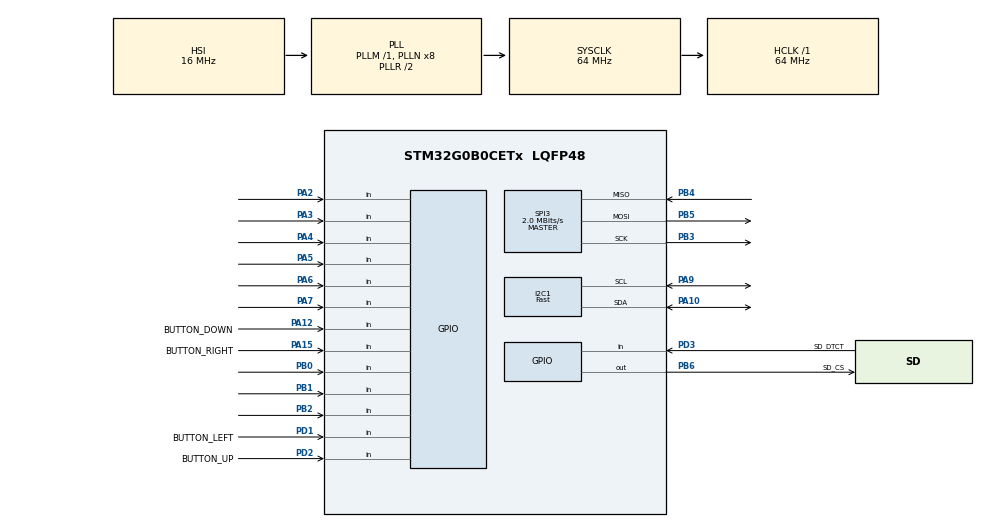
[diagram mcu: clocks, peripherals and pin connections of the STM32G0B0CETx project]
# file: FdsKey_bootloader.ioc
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I2C1.I2C_Speed_Mode=I2C_Fast
I2C1.Timing=0x00300F38
Mcu.Family=STM32G0
Mcu.Name=STM32G0B0CETx
Mcu.Package=LQFP48
PA10.GPIO_Pu=GPIO_PULLUP
PA10.Mode=I2C
PA10.Signal=I2C1_SDA
PA12\ [PA10].GPIO_Label=BUTTON_DOWN
PA12\ [PA10].GPIO_PuPd=GPIO_PULLUP
PA12\ [PA10].Signal=GPIO_Input
PA13.Mode=Serial_Wire
PA13.Signal=SYS_SWDIO
PA14-BOOT0.Mode=Serial_Wire
PA14-BOOT0.Signal=SYS_SWCLK
PA15.GPIO_Label=BUTTON_RIGHT
PA15.GPIO_PuPd=GPIO_PULLUP
PA15.Signal=GPIO_Input
PA2.Signal=GPIO_Input
PA3.Signal=GPIO_Input
PA4.Signal=GPIO_Input
PA5.Signal=GPIO_Input
PA6.Signal=GPIO_Input
PA7.Signal=GPIO_Input
PA9.GPIO_Pu=GPIO_PULLUP
PA9.Mode=I2C
PA9.Signal=I2C1_SCL
PB0.Signal=GPIO_Input
PB1.Signal=GPIO_Input
PB2.Signal=GPIO_Input
PB3.Mode=Full_Duplex_Master
PB3.Signal=SPI3_SCK
PB4.Mode=Full_Duplex_Master
PB4.Signal=SPI3_MISO
PB5.Mode=Full_Duplex_Master
PB5.Signal=SPI3_MOSI
PB6.GPIO_Label=SD_CS
PB6.PinState=GPIO_PIN_SET
PB6.Signal=GPIO_Output
PD1.GPIO_Label=BUTTON_LEFT
PD1.GPIO_PuPd=GPIO_PULLUP
PD1.Signal=GPIO_Input
PD2.GPIO_Label=BUTTON_UP
PD2.GPIO_PuPd=GPIO_PULLUP
PD2.Signal=GPIO_Input
PD3.GPIO_Label=SD_DTCT
PD3.GPIO_PuPd=GPIO_PULLUP
PD3.Signal=GPIO_Input
ProjectManager.HeapSize=0x200
ProjectManager.StackSize=0x400
ProjectManager.TargetToolchain=STM32CubeIDE
RCC.ADCFreq_Value=64000000
RCC.AHBFreq_Value=64000000
RCC.APB1CLKDivider=RCC_HCLK_DIV2
RCC.CortexFreq_Value=64000000
RCC.EXTERNAL_CLOCK_VALUE=48000
RCC.HCLKFreq_Value=64000000
RCC.HSE_VALUE=8000000
RCC.HSI_VALUE=16000000
RCC.LSE_VALUE=32768
RCC.SYSCLKFreq_VALUE=64000000
RCC.SYSCLKSource=RCC_SYSCLKSOURCE_PLLCLK
RCC.USBFreq_Value=64000000
RCC.VCOOutputFreq_Value=128000000
SPI3.BaudRatePrescaler=SPI_BAUDRATEPRESCALER_16
SPI3.CalculateBaudRate=2.0 MBits/s
SPI3.Direction=SPI_DIRECTION_2LINES
SPI3.Mode=SPI_MODE_MASTER
SPI3.VirtualType=VM_MASTER
TIM4.Period=65535
TIM4.Prescaler=63
VP_TIM4_VS_ClockSourceINT.Mode=Internal
board=custom

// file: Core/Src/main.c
/* USER CODE BEGIN Header */
/**
  ******************************************************************************
  * @file           : main.c
  * @brief          : Main program body
  ******************************************************************************
  * @attention
  *
  * Copyright (c) 2023 STMicroelectronics.
  * All rights reserved.
  *
  * This software is licensed under terms that can be found in the LICENSE file
  * in the root directory of this software component.
  * If no LICENSE file comes with this software, it is provided AS-IS.
  *
  ******************************************************************************
  */
/* USER CODE END Header */
#include "main.h"

/* USER CODE BEGIN Includes */
#include "oled.h"
#include "sdcard.h"
#include "splash.h"
#include "buttons.h"
#include "settings.h"
#include "servicemenu.h"
#include "confirm.h"
/* USER CODE END Includes */

I2C_HandleTypeDef hi2c1;

SPI_HandleTypeDef hspi3;

TIM_HandleTypeDef htim4;

void SystemClock_Config(void);
static void MX_GPIO_Init(void);
static void MX_I2C1_Init(void);
static void MX_SPI3_Init(void);
static void MX_TIM4_Init(void);

/* USER CODE BEGIN 0 */
static void start_app(void)
{
  // App start address
  void (*jmp_to_app)(void) = (void (*)(void))(*((volatile uint32_t*)(APP_ADDRESS + 4)));
  // Vector table
  SCB->VTOR = APP_ADDRESS;
  // Stack pointer (to RAM) for USER app in this address
  __set_MSP(*((volatile uint32_t*) APP_ADDRESS));
  jmp_to_app();

  // Should not execute
  while (1)
  {}
}

void delay_us(uint16_t us)
{
  htim4.Instance->EGR |= TIM_EGR_UG;
  while (htim4.Instance->CNT < us);
}

/* USER CODE END 0 */

int main(void)
{
  /* USER CODE BEGIN 1 */
  FATFS FatFs;
  FRESULT fr;
  FIL fp;
  FILINFO fno;
  uint64_t buffer[FLASH_PAGE_SIZE / sizeof(uint64_t)];
  UINT br;
  int pos, i;
  HAL_StatusTypeDef r;
  FLASH_EraseInitTypeDef erase_init_struct;
  uint32_t sector_error = 0;
  /* USER CODE END 1 */

  /* MCU Configuration--------------------------------------------------------*/

  /* Reset of all peripherals, Initializes the Flash interface and the Systick. */
  HAL_Init();

  /* Configure the system clock */
  SystemClock_Config();

  /* Initialize all configured peripherals */
  MX_GPIO_Init();
  MX_I2C1_Init();
  MX_SPI3_Init();
  MX_TIM4_Init();
  /* USER CODE BEGIN 2 */
  write_hardware_version();
#ifndef DEBUG
  if (!button_left_holding() || !button_right_holding() ||
      !button_up_holding() || !button_down_holding()) start_app();
#endif

  HAL_Delay(100);
  // us delay timer
  HAL_TIM_Base_Start_IT(&htim4);
  // settings
  service_settings_load();
  settings_load();
  // OLED init
  oled_init(fdskey_service_settings.oled_controller, fdskey_settings.lefty_mode ? 0 : 1, fdskey_settings.invert_screen, 0xFF);
  oled_draw_rectangle(0, 0, OLED_WIDTH - 1, OLED_HEIGHT - 1, 1, 0);
  oled_update_full();
  oled_set_line(0);

  show_message("Please wait...", 0);

  // init SD card and FAT
  if (HAL_GPIO_ReadPin(SD_DTCT_GPIO_Port, SD_DTCT_Pin))
    show_error_screen("No SD card", 1);
  r = SD_init_try_speed();
  if (r != HAL_OK)
    show_error_screen("Can't init SD card", 1);
  fr = f_mount(&FatFs, "", 1);
  show_error_screen_fr(fr, 1);

  fr = f_stat(FIRMWARE_FILE, &fno);
  if (fr == FR_NO_FILE)
      show_error_screen(FIRMWARE_FILE " not found", 1);
  show_error_screen_fr(fr, 1);
  if (fno.fsize > FIRMWARE_MAX_SIZE)
    show_error_screen("File is too big", 1);

  fr = f_open(&fp, FIRMWARE_FILE, FA_READ);
  show_error_screen_fr(fr, 1);

  show_updating_screen();
  /* USER CODE END 2 */

  /* Infinite loop */
  /* USER CODE BEGIN WHILE */
  r = HAL_FLASH_Unlock();
  if (r != HAL_OK)
    show_error_screen("Flash unlock error", 1);
  pos = 0;
  while (1)
  {
    fr = f_read(&fp, buffer, FLASH_PAGE_SIZE, &br);
    show_error_screen_fr(fr, 1);
    if (!br) break;
    erase_init_struct.TypeErase = FLASH_TYPEERASE_PAGES;
    erase_init_struct.Banks = ((APP_ADDRESS - 0x08000000 + pos) / FLASH_BANK_SIZE == 0) ? FLASH_BANK_1 : FLASH_BANK_2;
    erase_init_struct.Page = ((APP_ADDRESS - 0x08000000 + pos) / FLASH_PAGE_SIZE) % FLASH_PAGE_NB;
    erase_init_struct.NbPages = 1;
    r = HAL_FLASHEx_Erase(&erase_init_struct, &sector_error);
    if (r != HAL_OK)
      show_error_screen("Sector erase error", 1);

    for (i = 0; i < br; i += sizeof(uint64_t))
    {
      r = HAL_FLASH_Program(FLASH_TYPEPROGRAM_DOUBLEWORD, APP_ADDRESS + pos, buffer[i / sizeof(uint64_t)]);
      if (r != HAL_OK)
        show_error_screen("Flash writing error", 1);
      pos += sizeof(uint64_t);
    }
    /* USER CODE END WHILE */

    /* USER CODE BEGIN 3 */
  }
  HAL_FLASH_Lock();
  f_close(&fp);
  show_message("Firmware updated", 0);
  HAL_Delay(1500);

  if (confirm("Delete " FIRMWARE_FILE "?"))
  {
    // clear screen
    oled_draw_rectangle(0, oled_get_line() + OLED_HEIGHT, OLED_WIDTH - 1, oled_get_line() + OLED_HEIGHT + OLED_HEIGHT - 1, 1, 0);
    oled_update_invisible();
    oled_switch_to_invisible();
    // delete file
    fr = f_unlink(FIRMWARE_FILE);
    show_error_screen_fr(fr, 1);
  }

  // unmount
  f_mount(0, "", 1);

  show_message("Done!", 0);
  HAL_Delay(1500);

  start_app();
  while (1);
  /* USER CODE END 3 */
}

void SystemClock_Config(void)
{
  RCC_OscInitTypeDef RCC_OscInitStruct = {0};
  RCC_ClkInitTypeDef RCC_ClkInitStruct = {0};

  /** Configure the main internal regulator output voltage
  */
  HAL_PWREx_ControlVoltageScaling(PWR_REGULATOR_VOLTAGE_SCALE1);

  /** Initializes the RCC Oscillators according to the specified parameters
  * in the RCC_OscInitTypeDef structure.
  */
  RCC_OscInitStruct.OscillatorType = RCC_OSCILLATORTYPE_HSI;
  RCC_OscInitStruct.HSIState = RCC_HSI_ON;
  RCC_OscInitStruct.HSIDiv = RCC_HSI_DIV1;
  RCC_OscInitStruct.HSICalibrationValue = RCC_HSICALIBRATION_DEFAULT;
  RCC_OscInitStruct.PLL.PLLState = RCC_PLL_ON;
  RCC_OscInitStruct.PLL.PLLSource = RCC_PLLSOURCE_HSI;
  RCC_OscInitStruct.PLL.PLLM = RCC_PLLM_DIV1;
  RCC_OscInitStruct.PLL.PLLN = 8;
  RCC_OscInitStruct.PLL.PLLP = RCC_PLLP_DIV2;
  RCC_OscInitStruct.PLL.PLLQ = RCC_PLLQ_DIV2;
  RCC_OscInitStruct.PLL.PLLR = RCC_PLLR_DIV2;
  if (HAL_RCC_OscConfig(&RCC_OscInitStruct) != HAL_OK)
  {
    Error_Handler();
  }

  /** Initializes the CPU, AHB and APB buses clocks
  */
  RCC_ClkInitStruct.ClockType = RCC_CLOCKTYPE_HCLK|RCC_CLOCKTYPE_SYSCLK
                              |RCC_CLOCKTYPE_PCLK1;
  RCC_ClkInitStruct.SYSCLKSource = RCC_SYSCLKSOURCE_PLLCLK;
  RCC_ClkInitStruct.AHBCLKDivider = RCC_SYSCLK_DIV1;
  RCC_ClkInitStruct.APB1CLKDivider = RCC_HCLK_DIV2;

  if (HAL_RCC_ClockConfig(&RCC_ClkInitStruct, FLASH_LATENCY_2) != HAL_OK)
  {
    Error_Handler();
  }
}

static void MX_I2C1_Init(void)
{

  hi2c1.Instance = I2C1;
  hi2c1.Init.Timing = 0x00300F38;
  hi2c1.Init.OwnAddress1 = 0;
  hi2c1.Init.AddressingMode = I2C_ADDRESSINGMODE_7BIT;
  hi2c1.Init.DualAddressMode = I2C_DUALADDRESS_DISABLE;
  hi2c1.Init.OwnAddress2 = 0;
  hi2c1.Init.OwnAddress2Masks = I2C_OA2_NOMASK;
  hi2c1.Init.GeneralCallMode = I2C_GENERALCALL_DISABLE;
  hi2c1.Init.NoStretchMode = I2C_NOSTRETCH_DISABLE;
  if (HAL_I2C_Init(&hi2c1) != HAL_OK)
  {
    Error_Handler();
  }

  /** Configure Analogue filter
  */
  if (HAL_I2CEx_ConfigAnalogFilter(&hi2c1, I2C_ANALOGFILTER_ENABLE) != HAL_OK)
  {
    Error_Handler();
  }

  /** Configure Digital filter
  */
  if (HAL_I2CEx_ConfigDigitalFilter(&hi2c1, 0) != HAL_OK)
  {
    Error_Handler();
  }

}

static void MX_SPI3_Init(void)
{

  /* SPI3 parameter configuration*/
  hspi3.Instance = SPI3;
  hspi3.Init.Mode = SPI_MODE_MASTER;
  hspi3.Init.Direction = SPI_DIRECTION_2LINES;
  hspi3.Init.DataSize = SPI_DATASIZE_8BIT;
  hspi3.Init.CLKPolarity = SPI_POLARITY_LOW;
  hspi3.Init.CLKPhase = SPI_PHASE_1EDGE;
  hspi3.Init.NSS = SPI_NSS_SOFT;
  hspi3.Init.BaudRatePrescaler = SPI_BAUDRATEPRESCALER_16;
  hspi3.Init.FirstBit = SPI_FIRSTBIT_MSB;
  hspi3.Init.TIMode = SPI_TIMODE_DISABLE;
  hspi3.Init.CRCCalculation = SPI_CRCCALCULATION_DISABLE;
  hspi3.Init.CRCPolynomial = 7;
  hspi3.Init.CRCLength = SPI_CRC_LENGTH_DATASIZE;
  hspi3.Init.NSSPMode = SPI_NSS_PULSE_ENABLE;
  if (HAL_SPI_Init(&hspi3) != HAL_OK)
  {
    Error_Handler();
  }

}

static void MX_TIM4_Init(void)
{

  TIM_ClockConfigTypeDef sClockSourceConfig = {0};
  TIM_MasterConfigTypeDef sMasterConfig = {0};

  htim4.Instance = TIM4;
  htim4.Init.Prescaler = 63;
  htim4.Init.CounterMode = TIM_COUNTERMODE_UP;
  htim4.Init.Period = 65535;
  htim4.Init.ClockDivision = TIM_CLOCKDIVISION_DIV1;
  htim4.Init.AutoReloadPreload = TIM_AUTORELOAD_PRELOAD_DISABLE;
  if (HAL_TIM_Base_Init(&htim4) != HAL_OK)
  {
    Error_Handler();
  }
  sClockSourceConfig.ClockSource = TIM_CLOCKSOURCE_INTERNAL;
  if (HAL_TIM_ConfigClockSource(&htim4, &sClockSourceConfig) != HAL_OK)
  {
    Error_Handler();
  }
  sMasterConfig.MasterOutputTrigger = TIM_TRGO_RESET;
  sMasterConfig.MasterSlaveMode = TIM_MASTERSLAVEMODE_DISABLE;
  if (HAL_TIMEx_MasterConfigSynchronization(&htim4, &sMasterConfig) != HAL_OK)
  {
    Error_Handler();
  }

}

static void MX_GPIO_Init(void)
{
  GPIO_InitTypeDef GPIO_InitStruct = {0};

  /* GPIO Ports Clock Enable */
  __HAL_RCC_GPIOA_CLK_ENABLE();
  __HAL_RCC_GPIOB_CLK_ENABLE();
  __HAL_RCC_GPIOD_CLK_ENABLE();

  /*Configure GPIO pin Output Level */
  HAL_GPIO_WritePin(SD_CS_GPIO_Port, SD_CS_Pin, GPIO_PIN_SET);

  /*Configure GPIO pins : PA2 PA3 PA4 PA5
                           PA6 PA7 */
  GPIO_InitStruct.Pin = GPIO_PIN_2|GPIO_PIN_3|GPIO_PIN_4|GPIO_PIN_5
                          |GPIO_PIN_6|GPIO_PIN_7;
  GPIO_InitStruct.Mode = GPIO_MODE_INPUT;
  GPIO_InitStruct.Pull = GPIO_NOPULL;
  HAL_GPIO_Init(GPIOA, &GPIO_InitStruct);

  /*Configure GPIO pins : PB0 PB1 PB2 */
  GPIO_InitStruct.Pin = GPIO_PIN_0|GPIO_PIN_1|GPIO_PIN_2;
  GPIO_InitStruct.Mode = GPIO_MODE_INPUT;
  GPIO_InitStruct.Pull = GPIO_NOPULL;
  HAL_GPIO_Init(GPIOB, &GPIO_InitStruct);

  /*Configure GPIO pins : BUTTON_DOWN_Pin BUTTON_RIGHT_Pin */
  GPIO_InitStruct.Pin = BUTTON_DOWN_Pin|BUTTON_RIGHT_Pin;
  GPIO_InitStruct.Mode = GPIO_MODE_INPUT;
  GPIO_InitStruct.Pull = GPIO_PULLUP;
  HAL_GPIO_Init(GPIOA, &GPIO_InitStruct);

  /*Configure GPIO pins : BUTTON_LEFT_Pin BUTTON_UP_Pin SD_DTCT_Pin */
  GPIO_InitStruct.Pin = BUTTON_LEFT_Pin|BUTTON_UP_Pin|SD_DTCT_Pin;
  GPIO_InitStruct.Mode = GPIO_MODE_INPUT;
  GPIO_InitStruct.Pull = GPIO_PULLUP;
  HAL_GPIO_Init(GPIOD, &GPIO_InitStruct);

  /*Configure GPIO pin : SD_CS_Pin */
  GPIO_InitStruct.Pin = SD_CS_Pin;
  GPIO_InitStruct.Mode = GPIO_MODE_OUTPUT_PP;
  GPIO_InitStruct.Pull = GPIO_NOPULL;
  GPIO_InitStruct.Speed = GPIO_SPEED_FREQ_LOW;
  HAL_GPIO_Init(SD_CS_GPIO_Port, &GPIO_InitStruct);

}

void Error_Handler(void)
{
  __disable_irq();
  while (1)
  {
  }
}
